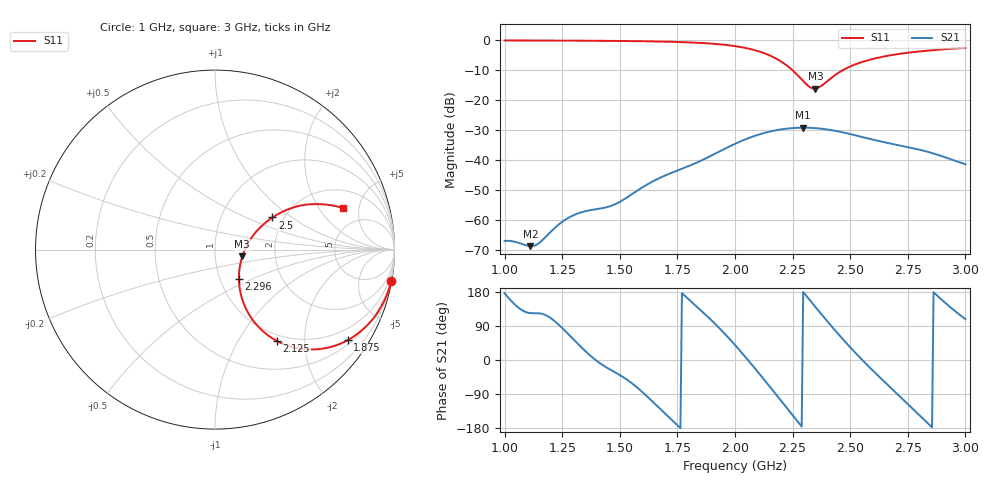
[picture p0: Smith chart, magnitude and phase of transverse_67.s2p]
! TOUCHSTONE file generated by CST MICROWAVE STUDIO
! Date and time: Tue Mar 11 13:56:27 2025
! Project name: transverse.cst
! Parameters = {Fracture=1; B=12.5; D=160; F=25; Feed=2.85625; L=100; M=20; R=0.384908; S=2; Theta=0; length=57.125; wave=114.25}
! Header version: 2024
! Port assignment regex: !\s*Touchstone port\s*([0-9]+)\s*=\s*(CST MWS port|CST DES external port|CST DES block port)\s*(.+)\s* \(\"(.*)\"\)(\s*mode\s*([0-9]+))?.*
! Touchstone port assignment:
! Touchstone port 1 = CST MWS port 1 ("")
! Touchstone port 2 = CST MWS port 2 ("")
# GHz S MA R 50
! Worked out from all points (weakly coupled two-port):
!   305 points, 1 GHz to 3 GHz, reference 50 ohm
!   highest |S21| = -29.13 dB at 2.296 GHz (marker M1); lowest = -68.7 dB at 1.112 GHz (marker M2)
!   lowest |S11| = -16.1 dB at 2.349 GHz (marker M3), VSWR 1.37, Z = 67.7 - j5.27 ohm
!   |S11| at or under -10 dB: 2.25 GHz to 2.466 GHz (216.5 MHz wide, 9.18 % of centre)
!   S12 and S22 are empty: the file has one direction only
!   S11 on the Smith chart (normalised r, x): 1 GHz: 0, -11; 1.875 GHz: 0.62, -3.13; 2.125 GHz: 0.90, -1.48; 2.296 GHz: 1.23, -0.42; 2.5 GHz: 1.75, +0.72; 3 GHz: 3.25, +3.42
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1  0.9976 -10.0  0.0004518 176.2  0 0.0  0 0.0
1.03947  0.9972 -10.5  0.0004414 149.3  0 0.0  0 0.0
1.11184  0.9962 -11.6  0.0003688 123.8  0 0.0  0 0.0
1.15132  0.9953 -12.2  0.0004209 123.1  0 0.0  0 0.0
1.26316  0.9917 -14.1  0.001018 76.4  0 0.0  0 0.0
1.33553  0.9888 -15.5  0.001365 32.1  0 0.0  0 0.0
1.48026  0.9796 -18.7  0.001853 -32.8  0 0.0  0 0.0
1.67105  0.9574 -24.5  0.005026 -126.7  0 0.0  0 0.0
1.875  0.8955 -34.3  0.01084 118.1  0 0.0  0 0.0
2  0.8027 -43.7  0.01881 39.6  0 0.0  0 0.0
2.125  0.6153 -55.8  0.02842 -50.7  0 0.0  0 0.0
2.21711  0.4004 -62.3  0.03347 -120.5  0 0.0  0 0.0
2.29605  0.2098 -50.6  0.03497 179.5  0 0.0  0 0.0
2.33553  0.1587 -25.1  0.03462 149.9  0 0.0  0 0.0
2.34868  0.1566 -14.0  0.03435 140.1  0 0.0  0 0.0
2.375  0.1744 5.2  0.0336 120.7  0 0.0  0 0.0
2.42105  0.2423 22.6  0.0317 87.6  0 0.0  0 0.0
2.5  0.3669 29.2  0.0274 33.6  0 0.0  0 0.0
2.57895  0.4686 28.8  0.02304 -16.3  0 0.0  0 0.0
2.67105  0.5615 26.4  0.01914 -70.4  0 0.0  0 0.0
2.83553  0.6738 21.8  0.01387 -166.2  0 0.0  0 0.0
3  0.7504 17.8  0.00858 108.0  0 0.0  0 0.0
